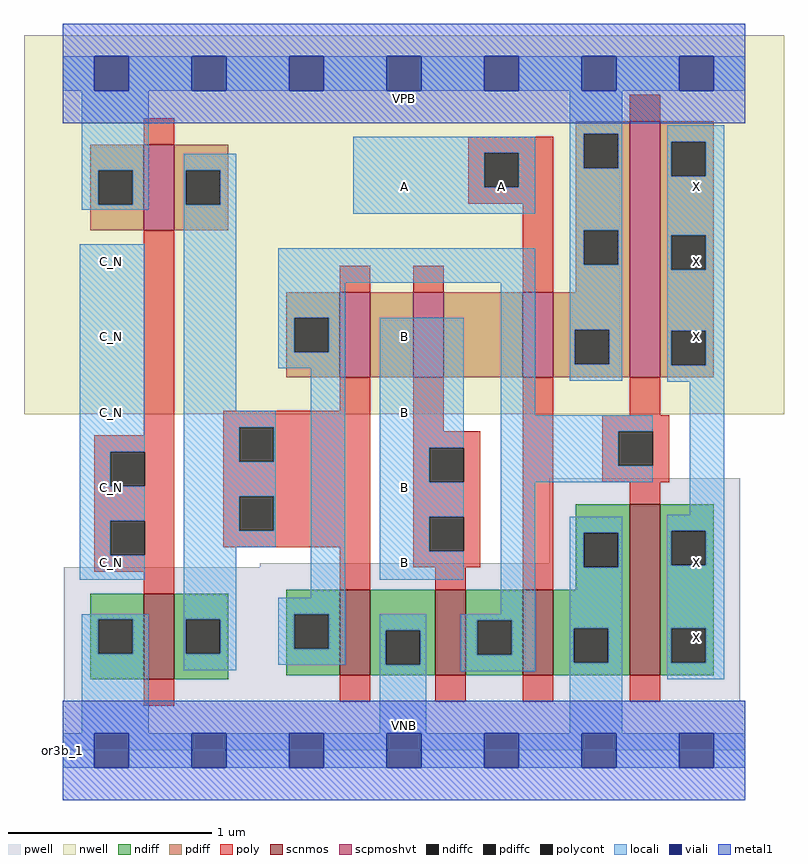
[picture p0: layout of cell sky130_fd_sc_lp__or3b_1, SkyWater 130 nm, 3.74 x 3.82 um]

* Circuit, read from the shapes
.subckt sky130_fd_sc_lp__or3b_1 A B C_N VGND VNB VPB VPWR X
XM1 n1 C_N VGND VNB sky130_fd_pr__nfet_01v8 w=0.42 l=0.15
XM2 VGND n1 n2 VNB sky130_fd_pr__nfet_01v8 w=0.42 l=0.15
XM3 n2 B VGND VNB sky130_fd_pr__nfet_01v8 w=0.42 l=0.15
XM4 VGND A n2 VNB sky130_fd_pr__nfet_01v8 w=0.42 l=0.15
XM5 X n2 VGND VNB sky130_fd_pr__nfet_01v8 w=0.84 l=0.15
XM6 n1 C_N VPWR VPB sky130_fd_pr__pfet_01v8_hvt w=0.42 l=0.15
XM7 n3 n1 n2 VPB sky130_fd_pr__pfet_01v8_hvt w=0.42 l=0.15
XM8 n4 B n3 VPB sky130_fd_pr__pfet_01v8_hvt w=0.42 l=0.15
XM9 VPWR A n4 VPB sky130_fd_pr__pfet_01v8_hvt w=0.42 l=0.15
XM10 X n2 VPWR VPB sky130_fd_pr__pfet_01v8_hvt w=1.26 l=0.15
.ends

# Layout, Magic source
magic
tech sky130A
magscale 1 2
<< nwell >>
rect -38 331 710 704
<< pwell >>
rect 479 184 667 268
rect 194 180 667 184
rect 1 49 667 180
rect 0 0 672 49
<< scnmos >>
rect 80 70 110 154
rect 273 74 303 158
rect 367 74 397 158
rect 453 74 483 158
rect 558 74 588 242
<< scpmoshvt >>
rect 80 512 110 596
rect 273 367 303 451
rect 345 367 375 451
rect 453 367 483 451
rect 558 367 588 619
<< ndiff >>
rect 505 214 558 242
rect 505 180 513 214
rect 547 180 558 214
rect 505 158 558 180
rect 27 129 80 154
rect 27 95 35 129
rect 69 95 80 129
rect 27 70 80 95
rect 110 129 163 154
rect 110 95 121 129
rect 155 95 163 129
rect 110 70 163 95
rect 220 134 273 158
rect 220 100 228 134
rect 262 100 273 134
rect 220 74 273 100
rect 303 118 367 158
rect 303 84 318 118
rect 352 84 367 118
rect 303 74 367 84
rect 397 128 453 158
rect 397 94 408 128
rect 442 94 453 128
rect 397 74 453 94
rect 483 120 558 158
rect 483 86 503 120
rect 537 86 558 120
rect 483 74 558 86
rect 588 216 641 242
rect 588 182 599 216
rect 633 182 641 216
rect 588 120 641 182
rect 588 86 599 120
rect 633 86 641 120
rect 588 74 641 86
<< pdiff >>
rect 505 607 558 619
rect 27 571 80 596
rect 27 537 35 571
rect 69 537 80 571
rect 27 512 80 537
rect 110 571 163 596
rect 110 537 121 571
rect 155 537 163 571
rect 110 512 163 537
rect 505 573 513 607
rect 547 573 558 607
rect 505 512 558 573
rect 505 478 513 512
rect 547 478 558 512
rect 505 451 558 478
rect 220 426 273 451
rect 220 392 228 426
rect 262 392 273 426
rect 220 367 273 392
rect 303 367 345 451
rect 375 367 453 451
rect 483 414 558 451
rect 483 380 504 414
rect 538 380 558 414
rect 483 367 558 380
rect 588 599 641 619
rect 588 565 599 599
rect 633 565 641 599
rect 588 507 641 565
rect 588 473 599 507
rect 633 473 641 507
rect 588 413 641 473
rect 588 379 599 413
rect 633 379 641 413
rect 588 367 641 379
<< ndiffc >>
rect 513 180 547 214
rect 35 95 69 129
rect 121 95 155 129
rect 228 100 262 134
rect 318 84 352 118
rect 408 94 442 128
rect 503 86 537 120
rect 599 182 633 216
rect 599 86 633 120
<< pdiffc >>
rect 35 537 69 571
rect 121 537 155 571
rect 513 573 547 607
rect 513 478 547 512
rect 228 392 262 426
rect 504 380 538 414
rect 599 565 633 599
rect 599 473 633 507
rect 599 379 633 413
<< poly >>
rect 80 596 110 622
rect 558 619 588 645
rect 399 588 483 604
rect 399 554 415 588
rect 449 554 483 588
rect 399 538 483 554
rect 80 310 110 512
rect 273 451 303 477
rect 345 451 375 477
rect 453 451 483 538
rect 273 334 303 367
rect 31 294 110 310
rect 31 260 47 294
rect 81 260 110 294
rect 31 226 110 260
rect 31 192 47 226
rect 81 192 110 226
rect 158 318 303 334
rect 158 284 174 318
rect 208 284 303 318
rect 158 250 303 284
rect 158 216 174 250
rect 208 216 303 250
rect 158 200 303 216
rect 31 176 110 192
rect 80 154 110 176
rect 273 158 303 200
rect 345 314 375 367
rect 345 298 411 314
rect 345 264 361 298
rect 395 264 411 298
rect 345 230 411 264
rect 345 196 361 230
rect 395 196 411 230
rect 345 180 411 196
rect 367 158 397 180
rect 453 158 483 367
rect 558 330 588 367
rect 531 314 597 330
rect 531 280 547 314
rect 581 280 597 314
rect 531 264 597 280
rect 558 242 588 264
rect 80 44 110 70
rect 273 48 303 74
rect 367 48 397 74
rect 453 48 483 74
rect 558 48 588 74
<< polycont >>
rect 415 554 449 588
rect 47 260 81 294
rect 47 192 81 226
rect 174 284 208 318
rect 174 216 208 250
rect 361 264 395 298
rect 361 196 395 230
rect 547 280 581 314
<< locali >>
rect 0 649 31 683
rect 65 649 127 683
rect 161 649 223 683
rect 257 649 319 683
rect 353 649 415 683
rect 449 649 511 683
rect 545 649 607 683
rect 641 649 672 683
rect 19 571 85 649
rect 499 607 551 649
rect 286 588 465 604
rect 19 537 35 571
rect 69 537 85 571
rect 19 532 85 537
rect 119 571 171 587
rect 119 537 121 571
rect 155 537 171 571
rect 17 294 81 498
rect 17 260 47 294
rect 17 226 81 260
rect 17 192 47 226
rect 17 168 81 192
rect 119 334 171 537
rect 286 554 415 588
rect 449 554 465 588
rect 286 528 465 554
rect 499 573 513 607
rect 547 573 551 607
rect 499 512 551 573
rect 212 460 465 494
rect 212 426 278 460
rect 212 392 228 426
rect 262 392 278 426
rect 212 376 278 392
rect 119 318 210 334
rect 119 284 174 318
rect 208 284 210 318
rect 119 250 210 284
rect 119 216 174 250
rect 208 216 210 250
rect 119 200 210 216
rect 19 129 85 134
rect 19 95 35 129
rect 69 95 85 129
rect 19 17 85 95
rect 119 129 171 200
rect 244 150 278 376
rect 312 298 395 426
rect 312 264 361 298
rect 312 230 395 264
rect 312 196 361 230
rect 312 168 395 196
rect 431 330 465 460
rect 499 478 513 512
rect 547 478 551 512
rect 499 414 551 478
rect 499 380 504 414
rect 538 380 551 414
rect 499 364 551 380
rect 595 599 651 615
rect 595 565 599 599
rect 633 565 651 599
rect 595 507 651 565
rect 595 473 599 507
rect 633 473 651 507
rect 595 413 651 473
rect 595 379 599 413
rect 633 379 651 413
rect 595 363 651 379
rect 431 314 581 330
rect 431 280 547 314
rect 431 264 581 280
rect 119 95 121 129
rect 155 95 171 129
rect 119 79 171 95
rect 212 134 278 150
rect 431 134 465 264
rect 617 232 651 363
rect 212 100 228 134
rect 262 100 278 134
rect 212 84 278 100
rect 312 118 358 134
rect 312 84 318 118
rect 352 84 358 118
rect 312 17 358 84
rect 392 128 465 134
rect 392 94 408 128
rect 442 94 465 128
rect 392 78 465 94
rect 499 214 551 230
rect 499 180 513 214
rect 547 180 551 214
rect 499 120 551 180
rect 499 86 503 120
rect 537 86 551 120
rect 499 17 551 86
rect 595 216 651 232
rect 595 182 599 216
rect 633 182 651 216
rect 595 120 651 182
rect 595 86 599 120
rect 633 86 651 120
rect 595 70 651 86
rect 0 -17 31 17
rect 65 -17 127 17
rect 161 -17 223 17
rect 257 -17 319 17
rect 353 -17 415 17
rect 449 -17 511 17
rect 545 -17 607 17
rect 641 -17 672 17
<< viali >>
rect 31 649 65 683
rect 127 649 161 683
rect 223 649 257 683
rect 319 649 353 683
rect 415 649 449 683
rect 511 649 545 683
rect 607 649 641 683
rect 31 -17 65 17
rect 127 -17 161 17
rect 223 -17 257 17
rect 319 -17 353 17
rect 415 -17 449 17
rect 511 -17 545 17
rect 607 -17 641 17
<< metal1 >>
rect 0 683 672 715
rect 0 649 31 683
rect 65 649 127 683
rect 161 649 223 683
rect 257 649 319 683
rect 353 649 415 683
rect 449 649 511 683
rect 545 649 607 683
rect 641 649 672 683
rect 0 617 672 649
rect 0 17 672 49
rect 0 -17 31 17
rect 65 -17 127 17
rect 161 -17 223 17
rect 257 -17 319 17
rect 353 -17 415 17
rect 449 -17 511 17
rect 545 -17 607 17
rect 641 -17 672 17
rect 0 -49 672 -17
<< labels >>
flabel pwell s 0 0 672 49 0 FreeSans 200 0 0 0 VNB
port 5 nsew ground bidirectional
flabel nwell s 0 617 672 666 0 FreeSans 200 0 0 0 VPB
port 6 nsew power bidirectional
rlabel comment s 0 0 0 0 4 or3b_1
flabel metal1 s 0 617 672 666 0 FreeSans 340 0 0 0 VPWR
port 7 nsew power bidirectional
flabel metal1 s 0 0 672 49 0 FreeSans 340 0 0 0 VGND
port 4 nsew ground bidirectional
flabel locali s 319 168 353 202 0 FreeSans 340 0 0 0 B
port 2 nsew signal input
flabel locali s 319 242 353 276 0 FreeSans 340 0 0 0 B
port 2 nsew signal input
flabel locali s 319 316 353 350 0 FreeSans 340 0 0 0 B
port 2 nsew signal input
flabel locali s 319 390 353 424 0 FreeSans 340 0 0 0 B
port 2 nsew signal input
flabel locali s 31 168 65 202 0 FreeSans 340 0 0 0 C_N
port 3 nsew signal input
flabel locali s 31 242 65 276 0 FreeSans 340 0 0 0 C_N
port 3 nsew signal input
flabel locali s 31 316 65 350 0 FreeSans 340 0 0 0 C_N
port 3 nsew signal input
flabel locali s 31 390 65 424 0 FreeSans 340 0 0 0 C_N
port 3 nsew signal input
flabel locali s 31 464 65 498 0 FreeSans 340 0 0 0 C_N
port 3 nsew signal input
flabel locali s 607 94 641 128 0 FreeSans 340 0 0 0 X
port 8 nsew signal output
flabel locali s 607 168 641 202 0 FreeSans 340 0 0 0 X
port 8 nsew signal output
flabel locali s 319 538 353 572 0 FreeSans 340 0 0 0 A
port 1 nsew signal input
flabel locali s 415 538 449 572 0 FreeSans 340 0 0 0 A
port 1 nsew signal input
flabel locali s 607 538 641 572 0 FreeSans 340 0 0 0 X
port 8 nsew signal output
flabel locali s 607 464 641 498 0 FreeSans 340 0 0 0 X
port 8 nsew signal output
flabel locali s 607 390 641 424 0 FreeSans 340 0 0 0 X
port 8 nsew signal output
<< properties >>
string LEFsite unit
string LEFclass CORE
string FIXED_BBOX 0 0 672 666
string GDS_FILE $PDKPATH/libs.ref/sky130_fd_sc_lp/gds/sky130_fd_sc_lp.gds
string LEFsymmetry X Y R90
string GDS_END 1648386
string GDS_START 1640732
<< end >>
